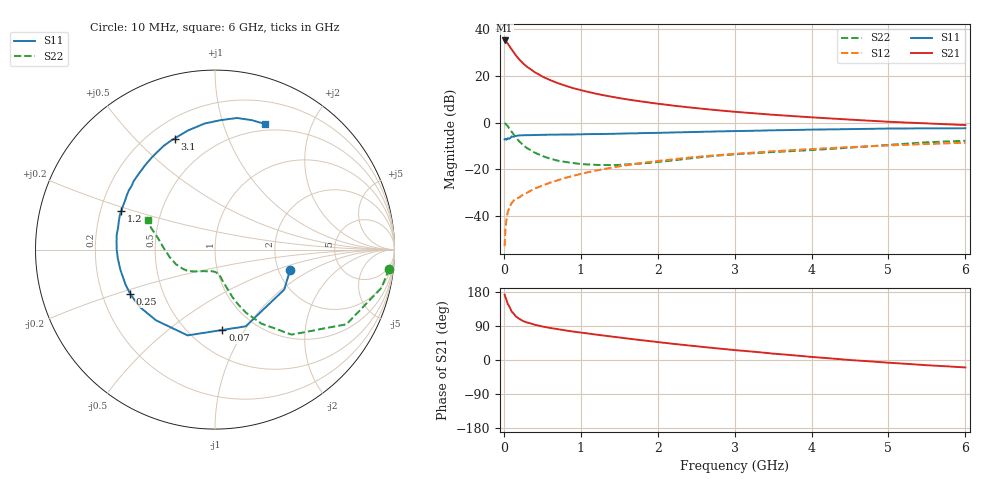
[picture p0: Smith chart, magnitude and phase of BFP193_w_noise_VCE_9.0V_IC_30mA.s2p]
! Infineon Technologies  Discrete & RF Semiconductors
! BFP193
! VCE =  9.0 V,  IC =  30 mA
! Common Emitter S-Parameters:  Jan 2017
# GHz  S  MA  R  50
!  f  S11  S21  S12  S22
! GHz  MAG  ANG  MAG  ANG  MAG  ANG  MAG  ANG
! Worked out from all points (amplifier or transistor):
!   77 points, 10 MHz to 6 GHz, reference 50 ohm
!   highest |S21| = 35.3 dB at 10 MHz (marker M1)
!   |S21| within 3 dB of that: start of sweep to 83.78 MHz
!   unconditionally stable (mu >= 1): 796.7 MHz to 2.434 GHz
!   at 130 MHz: K = 0.46, MSG = 31.8 dB, |S12| = -33.5 dB
!   at 2.2 GHz: K = 1.01, MAG = 10.8 dB, |S12| = -15.8 dB
!   at 6 GHz: K = 0.90, MSG = 3.8 dB, |S12| = -8.7 dB
!   lowest NFmin = 1.22 dB at 450 MHz
!   S11 on the Smith chart (normalised r, x): 10 MHz: 2.32, -0.64; 70 MHz: 0.71, -0.80; 250 MHz: 0.32, -0.22; 1.2 GHz: 0.29, +0.18; 3.1 GHz: 0.30, +0.66; 6 GHz: 0.43, +1.39
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0.01  0.4336 -14.9  58.06 172.5  0.0022 84.2  0.9757 -6.3
0.02  0.4455 -30.0  57.57 166.0  0.0049 78.9  0.9519 -12.9
0.05  0.4605 -68.2  50.13 148.3  0.0118 66.9  0.8424 -29.6
0.07  0.4496 -84.7  44.52 141.6  0.0144 63.0  0.7516 -35.7
0.1  0.5017 -107.7  37.65 128.2  0.0184 59.2  0.6371 -48.0
0.15  0.513 -129.8  28.56 116.2  0.0229 53.8  0.4879 -57.8
0.2  0.5278 -142.9  22.67 108.6  0.0246 55.2  0.3944 -63.7
0.25  0.533 -152.5  18.66 102.9  0.0282 56.0  0.3296 -67.2
0.3  0.5353 -158.7  15.79 99.1  0.0308 56.7  0.2827 -69.8
0.4  0.5392 -168.1  12.1 93.0  0.0379 60.1  0.2256 -72.7
0.5  0.5438 -174.9  9.75 88.4  0.0439 61.5  0.191 -75.2
0.6  0.5479 179.6  8.193 84.6  0.051 62.3  0.1676 -77.4
0.7  0.5504 175.3  7.038 81.4  0.0573 63.7  0.1513 -79.0
0.9  0.5533 167.5  5.493 75.1  0.0713 63.7  0.1349 -83.8
1.1  0.5633 160.5  4.531 69.8  0.0859 63.1  0.1253 -88.9
1.2  0.5647 157.4  4.159 67.0  0.093 62.5  0.1228 -91.9
1.6  0.5825 145.5  3.152 56.9  0.1212 59.5  0.1256 -106.3
2.1  0.6051 131.8  2.423 45.1  0.1553 54.5  0.1474 -125.1
3.1  0.6586 110.0  1.653 24.5  0.2174 42.9  0.2119 -151.0
4.1  0.7072 93.3  1.264 6.6  0.2741 31.8  0.2624 -173.5
5.1  0.7437 79.3  1.022 -8.4  0.327 20.6  0.3388 166.2
6  0.7532 68.1  0.882 -19.6  0.3685 10.6  0.4059 156.3
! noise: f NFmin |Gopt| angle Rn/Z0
0.45  1.22  0.33  -174  0.08
0.9  1.27  0.38  -173  0.07
1.9  1.89  0.57  -137  0.17
2.4  2.22  0.62  -121  0.38
